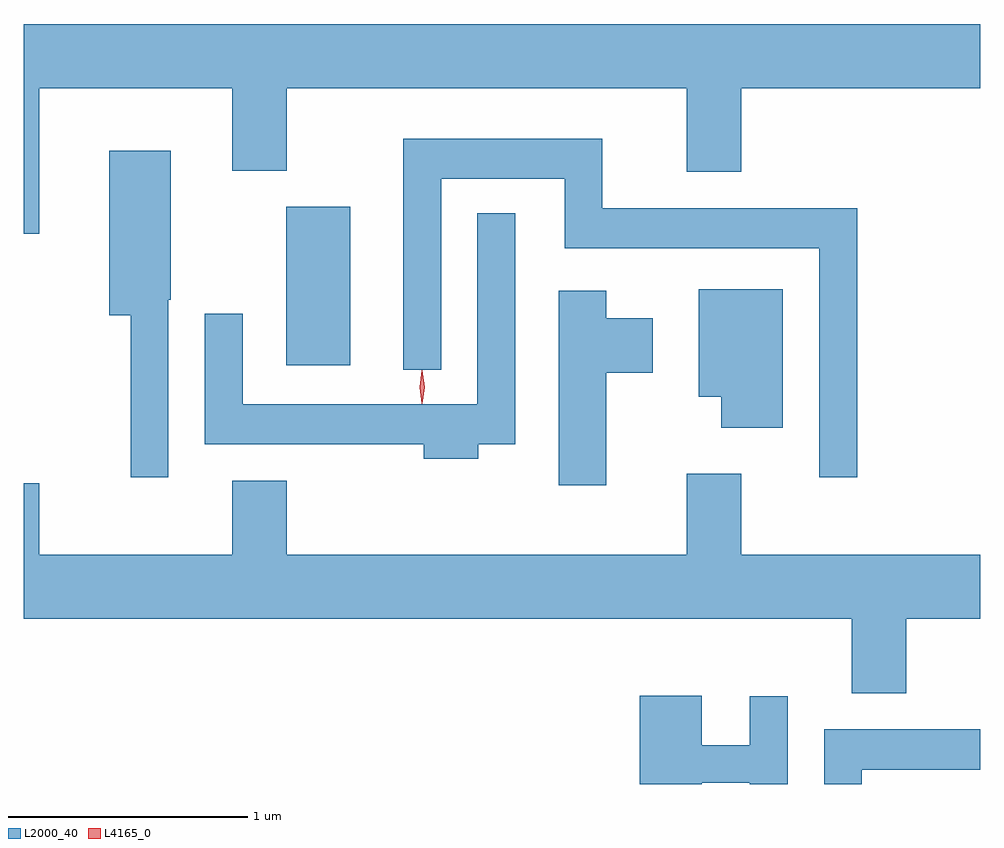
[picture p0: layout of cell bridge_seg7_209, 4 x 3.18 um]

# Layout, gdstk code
import gdstk
lib = gdstk.Library(unit=1e-6, precision=1e-09)
def R(c, l, rs):  # rectangles x0, y0, x1, y1
    for r in rs: c.add(gdstk.rectangle(r[:2], r[2:], *l))
def P(c, l, *ps):  # polygons
    for p in ps: c.add(gdstk.Polygon(p, *l))
L2000_40 = (2000, 40)
L4165_0 = (4165, 0)

bridge_seg7_209 = lib.new_cell('bridge_seg7_209')
R(bridge_seg7_209, L2000_40, [(1495.096,1708.716,1495.364,1709.379)])
P(bridge_seg7_209, L2000_40, [(1494.064,1709.876),(1494.871,1709.876),(1494.871,1709.531),(1495.099,1709.531),(1495.099,1709.876),(1496.771,1709.876),(1496.771,1709.526),(1496.999,1709.526),(1496.999,1709.876),(1497.999,1709.876),(1497.999,1710.144),(1493.999,1710.144),(1493.999,1709.266),(1494.064,1709.266)],
  [(1497.484,1709.374),(1496.419,1709.374),(1496.419,1709.664),(1495.586,1709.664),(1495.586,1708.698),(1495.744,1708.698),(1495.744,1709.496),(1496.261,1709.496),(1496.261,1709.206),(1497.326,1709.206),(1497.326,1708.248),(1497.484,1708.248)],
  [(1494.604,1708.99),(1494.614,1708.99),(1494.614,1709.614),(1494.356,1709.614),(1494.356,1708.926),(1494.446,1708.926),(1494.446,1708.248),(1494.604,1708.248)],
  [(1495.899,1708.386),(1496.054,1708.386),(1496.054,1709.353),(1495.896,1709.353),(1495.896,1708.554),(1494.914,1708.554),(1494.914,1708.933),(1494.756,1708.933),(1494.756,1708.386),(1495.671,1708.386),(1495.671,1708.326),(1495.899,1708.326)],
  [(1497.174,1709.034),(1496.821,1709.034),(1496.821,1708.586),(1496.916,1708.586),(1496.916,1708.456),(1497.174,1708.456)],
  [(1496.434,1708.686),(1496.629,1708.686),(1496.629,1708.914),(1496.434,1708.914),(1496.434,1709.029),(1496.236,1709.029),(1496.236,1708.216),(1496.434,1708.216)],
  [(1497.689,1707.656),(1497.999,1707.656),(1497.999,1707.924),(1496.999,1707.924),(1496.999,1708.264),(1496.771,1708.264),(1496.771,1707.924),(1495.099,1707.924),(1495.099,1708.234),(1494.871,1708.234),(1494.871,1707.924),(1494.064,1707.924),(1494.064,1708.224),(1493.999,1708.224),(1493.999,1707.656),(1497.461,1707.656),(1497.461,1707.346),(1497.689,1707.346)],
  [(1496.834,1706.971),(1497.036,1706.971),(1497.036,1706.966),(1497.194,1706.966),(1497.194,1707.333),(1497.036,1707.333),(1497.036,1707.129),(1496.834,1707.129),(1496.834,1707.334),(1496.576,1707.334),(1496.576,1706.966),(1496.834,1706.966)],
  [(1497.504,1707.026),(1497.999,1707.026),(1497.999,1707.194),(1497.346,1707.194),(1497.346,1706.966),(1497.504,1706.966)])
P(bridge_seg7_209, L4165_0, [(1495.665,1708.559),(1495.664,1708.56),(1495.655,1708.626),(1495.664,1708.692),(1495.665,1708.693),(1495.665,1708.692),(1495.675,1708.626),(1495.665,1708.56)],
  [(1495.664,1708.557),(1495.655,1708.626),(1495.664,1708.696),(1495.665,1708.696),(1495.666,1708.696),(1495.675,1708.626),(1495.666,1708.557),(1495.665,1708.557)])

lib.write_gds('bridge_seg7_209.gds')
